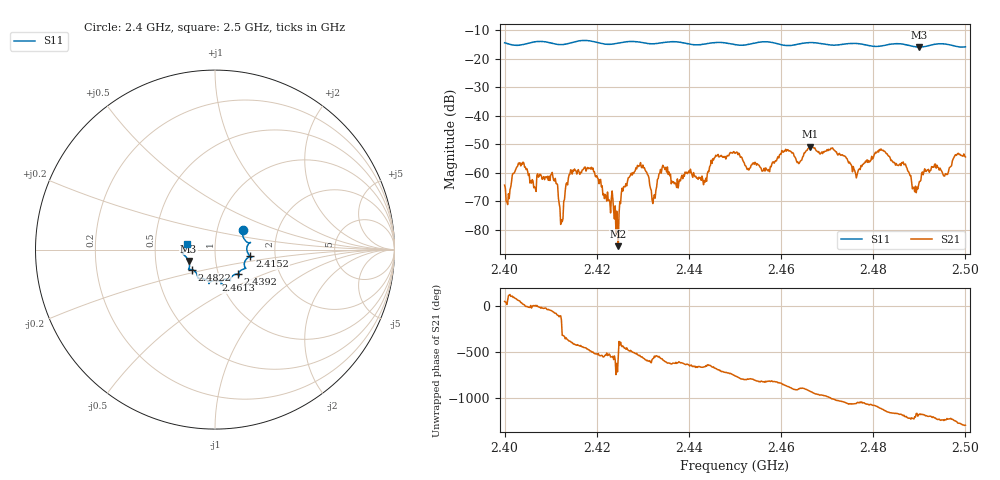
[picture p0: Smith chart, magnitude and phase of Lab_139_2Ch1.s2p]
# Hz S RI R 50
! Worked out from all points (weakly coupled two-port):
!   601 points, 2.4 GHz to 2.5 GHz, reference 50 ohm
!   highest |S21| = -50.85 dB at 2.4663 GHz (marker M1); lowest = -85.8 dB at 2.4247 GHz (marker M2)
!   lowest |S11| = -15.9 dB at 2.49 GHz (marker M3), VSWR 1.38, Z = 36.9 - j4.82 ohm
!   |S11| at or under -10 dB: start of sweep to end of sweep
!   S12 and S22 are empty: the file has one direction only
!   S11 on the Smith chart (normalised r, x): 2.4 GHz: 1.33, +0.30; 2.4152 GHz: 1.48, -0.11; 2.4392 GHz: 1.23, -0.35; 2.4613 GHz: 0.96, -0.34; 2.4822 GHz: 0.76, -0.17; 2.5 GHz: 0.73, +0.05
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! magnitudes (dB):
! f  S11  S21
! 2.4 GHz  -14.4  -64.4
! 2.4037 GHz  -15.1  -56.7
! 2.4063 GHz  -14.1  -65.3
! 2.4105 GHz  -14.6  -61.6
! 2.4123 GHz  -15.0  -76.5
! 2.4152 GHz  -14.1  -58.7
! 2.4167 GHz  -13.6  -60.0
! 2.4247 GHz  -14.5  -85.8
! 2.429 GHz  -14.1  -57.9
! 2.4322 GHz  -14.7  -70.9
! 2.4333 GHz  -14.6  -62.0
! 2.4392 GHz  -14.5  -59.8
! 2.45 GHz  -15.0  -53.2
! 2.457 GHz  -14.1  -59.2
! 2.4613 GHz  -15.4  -52.0
! 2.4663 GHz  -14.3  -50.8
! 2.4667 GHz  -14.3  -50.9
! 2.4763 GHz  -14.6  -61.9
! 2.4822 GHz  -15.4  -52.1
! 2.4833 GHz  -15.0  -54.2
! 2.49 GHz  -15.9  -63.2
! 2.5 GHz  -15.8  -54.5
